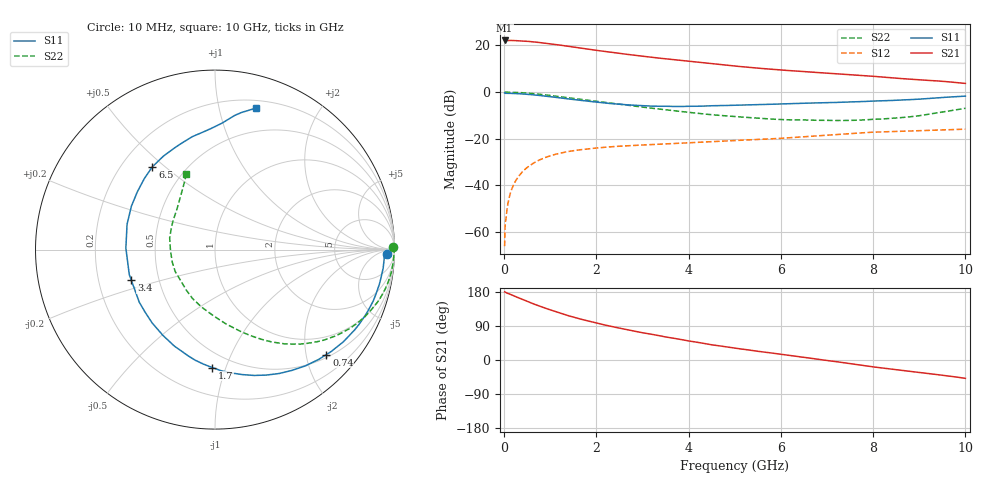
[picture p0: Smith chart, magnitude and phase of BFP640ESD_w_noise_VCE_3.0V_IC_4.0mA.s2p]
! Infineon Technologies  Discrete & RF Semiconductors
! BFP640ESD
! VCE =  3.0 V,  IC =  4.0 mA
! Common Emitter S-Parameters:  Jan 2016
# GHz  S  MA  R  50
!  f  S11  S21  S12  S22
! GHz  MAG  ANG  MAG  ANG  MAG  ANG  MAG  ANG
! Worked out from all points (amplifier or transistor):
!   233 points, 10 MHz to 10 GHz, reference 50 ohm
!   highest |S21| = 22.1 dB at 10 MHz (marker M1)
!   |S21| within 3 dB of that: start of sweep to 1.566 GHz
!   unconditionally stable (mu >= 1): 4.86 GHz to 9.066 GHz
!   at 200 MHz: K = 0.04, MSG = 31.0 dB, |S12| = -39.9 dB
!   at 1.74 GHz: K = 0.40, MSG = 21.6 dB, |S12| = -24.5 dB
!   at 10 GHz: K = 0.80, MSG = 9.8 dB, |S12| = -15.9 dB
!   lowest NFmin = 0.56 dB at 450 MHz
!   S11 on the Smith chart (normalised r, x): 10 MHz: 37, -20; 740 MHz: 0.56, -2.41; 1.7 GHz: 0.39, -0.90; 3.4 GHz: 0.35, -0.16; 6.5 GHz: 0.33, +0.45; 10 GHz: 0.27, +1.29
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0.01  0.9587 -1.3  12.77 179.7  0.0005 24.9  0.9897 0.7
0.02  0.9428 -1.4  12.72 179.4  0.0013 89.7  0.9989 -0.6
0.055  0.9437 -3.5  12.71 176.9  0.0027 89.4  0.9972 -2.1
0.17  0.9375 -10.3  12.75 171.4  0.0086 83.2  0.9923 -6.2
0.34  0.9212 -20.5  12.58 162.8  0.0169 77.4  0.9763 -12.2
0.5  0.8978 -29.8  12.27 154.7  0.0243 72.2  0.9524 -17.8
0.74  0.8525 -43.3  11.62 143.4  0.0342 64.5  0.9053 -25.5
0.9  0.8204 -52.2  11.15 136.3  0.0399 60.0  0.871 -30.2
1.2  0.7555 -67.7  10.19 124.1  0.0489 52.4  0.801 -38.4
1.4  0.7127 -77.7  9.54 116.6  0.0535 48.1  0.7547 -43.2
1.68  0.6606 -90.5  8.719 107.3  0.0588 43.0  0.6961 -49.1
1.7  0.6571 -91.4  8.664 106.6  0.0591 42.7  0.6921 -49.5
2.2  0.5831 -112.9  7.395 91.9  0.0659 36.1  0.6 -58.8
2.58  0.5416 -128.9  6.605 81.9  0.0699 32.1  0.536 -65.5
3  0.5137 -145.2  5.877 71.9  0.0735 29.0  0.4762 -72.8
3.4  0.4965 -159.9  5.293 63.3  0.0766 26.8  0.4288 -79.7
4  0.4967 179.0  4.595 50.3  0.082 24.2  0.3687 -91.4
5.1  0.5266 150.7  3.54 29.7  0.0918 19.8  0.2948 -116.5
6.5  0.5785 127.1  2.752 6.9  0.1104 15.1  0.2531 -151.2
6.8  0.5868 122.1  2.626 2.1  0.1159 13.5  0.2488 -158.3
8.4  0.6616 94.9  2.021 -24.1  0.1428 0.2  0.2738 151.9
10  0.8196 74.0  1.533 -48.4  0.1605 -13.1  0.4499 110.7
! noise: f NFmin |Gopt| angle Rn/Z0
0.45  0.56  0.48  10  0.14
0.9  0.59  0.46  23  0.14
1.9  0.68  0.36  48  0.13
2.4  0.72  0.32  65  0.12
5.5  1.15  0.36  -147  0.14
10  2.27  0.65  -83  0.98
